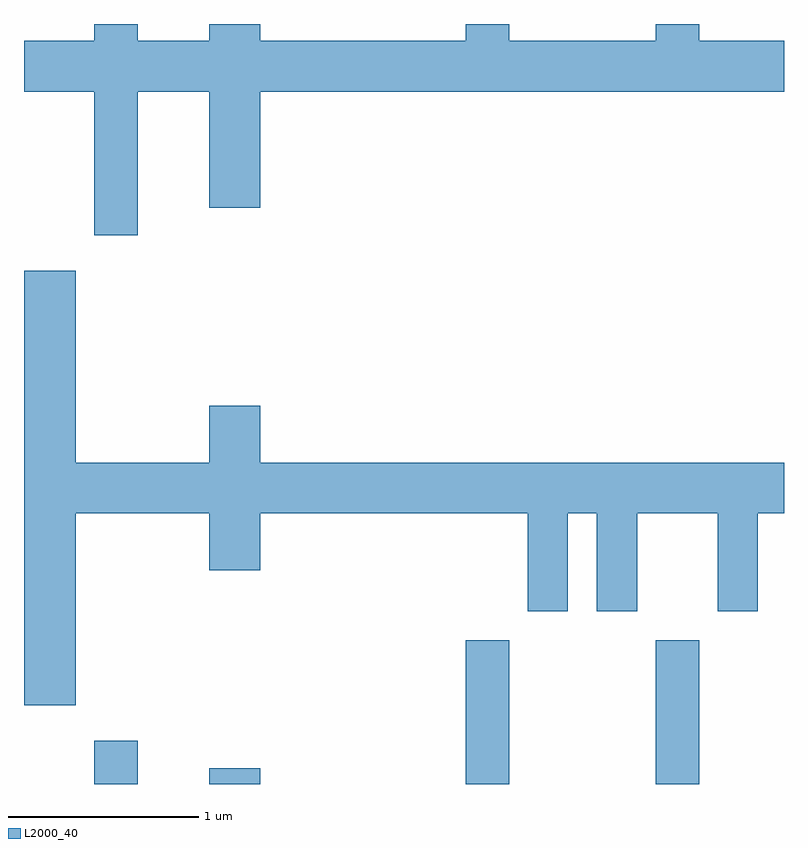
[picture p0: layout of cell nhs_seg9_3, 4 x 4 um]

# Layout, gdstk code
import gdstk
lib = gdstk.Library(unit=1e-6, precision=1e-09)
def R(c, l, rs):  # rectangles x0, y0, x1, y1
    for r in rs: c.add(gdstk.rectangle(r[:2], r[2:], *l))
def P(c, l, *ps):  # polygons
    for p in ps: c.add(gdstk.Polygon(p, *l))
L2000_40 = (2000, 40)

nhs_seg9_3 = lib.new_cell('nhs_seg9_3')
R(nhs_seg9_3, L2000_40, [(185.981,1950.432,186.209,1950.659), (186.586,1950.432,186.854,1950.514), (187.936,1950.432,188.164,1951.189), (188.936,1950.432,189.164,1951.189)])
P(nhs_seg9_3, L2000_40, [(186.209,1954.076),(186.586,1954.076),(186.586,1953.466),(186.854,1953.466),(186.854,1954.076),(189.611,1954.076),(189.611,1954.344),(189.164,1954.344),(189.164,1954.432),(188.936,1954.432),(188.936,1954.344),(188.164,1954.344),(188.164,1954.432),(187.936,1954.432),(187.936,1954.344),(186.854,1954.344),(186.854,1954.432),(186.586,1954.432),(186.586,1954.344),(186.209,1954.344),(186.209,1954.432),(185.981,1954.432),(185.981,1954.344),(185.611,1954.344),(185.611,1954.076),(185.981,1954.076),(185.981,1953.321),(186.209,1953.321)],
  [(185.884,1951.856),(186.586,1951.856),(186.586,1951.556),(186.854,1951.556),(186.854,1951.856),(188.261,1951.856),(188.261,1951.341),(188.474,1951.341),(188.474,1951.856),(188.626,1951.856),(188.626,1951.341),(188.839,1951.341),(188.839,1951.856),(189.261,1951.856),(189.261,1951.341),(189.474,1951.341),(189.474,1951.856),(189.611,1951.856),(189.611,1952.124),(186.854,1952.124),(186.854,1952.424),(186.586,1952.424),(186.586,1952.124),(185.884,1952.124),(185.884,1953.134),(185.611,1953.134),(185.611,1950.846),(185.884,1950.846)])

lib.write_gds('nhs_seg9_3.gds')
